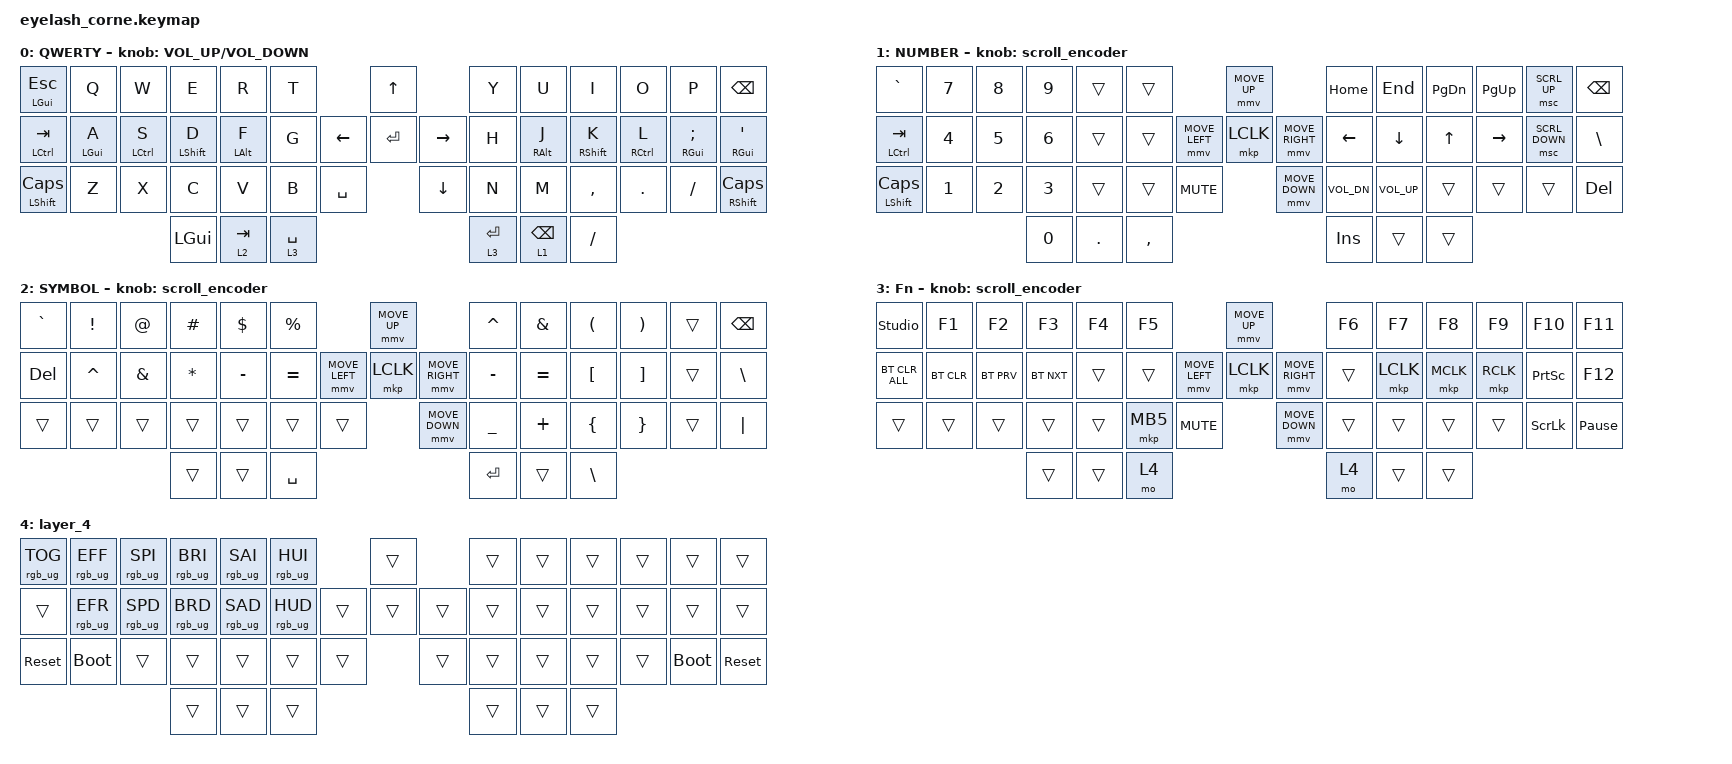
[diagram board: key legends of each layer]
#define ZMK_POINTING_DEFAULT_MOVE_VAL 1200  // 600
#define ZMK_POINTING_DEFAULT_SCRL_VAL 80 // 10

#include <input/processors.dtsi>
#include <zephyr/dt-bindings/input/input-event-codes.h>
#include <behaviors.dtsi>
#include <dt-bindings/zmk/bt.h>
#include <dt-bindings/zmk/keys.h>
#include <dt-bindings/zmk/pointing.h>
#include <dt-bindings/zmk/rgb.h>

&mmv_input_listener { input-processors = <&zip_xy_scaler 2 1>; };

&msc_input_listener { input-processors = <&zip_scroll_scaler 2 1>; };

&msc {
    acceleration-exponent = <1>;      // 0
    time-to-max-speed-ms = <100>;       // 300
    delay-ms = <0>;                   // 0
};

&mmv {
    time-to-max-speed-ms = <500>;
    acceleration-exponent = <1>;
    trigger-period-ms = <16>;
};

/ {
    behaviors {
        home_row: home_row {
            compatible = "zmk,behavior-hold-tap";
            label = "HOME_ROW";
            bindings = <&kp>, <&kp>;

            #binding-cells = <2>;
            tapping-term-ms = <200>;
            flavor = "tap-preferred";
        };
    };

    rgb_encoder: rgb_encoder {
        compatible = "zmk,behavior-sensor-rotate";
        #sensor-binding-cells = <0>;
        bindings = <&rgb_ug RGB_BRI>, <&rgb_ug RGB_BRD>;
    };

    scroll_encoder: scroll_encoder {
        compatible = "zmk,behavior-sensor-rotate";
        #sensor-binding-cells = <0>;
        bindings = <&msc SCRL_DOWN>, <&msc SCRL_UP>;

        tap-ms = <100>;
    };

    combos {
        compatible = "zmk,combos";

        cz {
            bindings = <&kp LC(Z)>;
            key-positions = <29 30>;
        };

        cx {
            bindings = <&kp LC(X)>;
            key-positions = <30 31>;
        };

        cc {
            bindings = <&kp LC(C)>;
            key-positions = <31 32>;
        };

        cv {
            bindings = <&kp LC(V)>;
            key-positions = <32 33>;
        };

        tabc {
            bindings = <&kp TAB>;
            key-positions = <14 15>;
        };

        enterc {
            bindings = <&kp ENTER>;
            key-positions = <24 25>;
        };

        escapec {
            bindings = <&kp ESCAPE>;
            key-positions = <1 2>;
        };

        scrolldownc {
            bindings = <&msc SCRL_DOWN>;
            key-positions = <23 24 25>;
        };

        scrollupc {
            bindings = <&msc SCRL_UP>;
            key-positions = <15 16 17>;
        };

        delc {
            bindings = <&kp DEL>;
            key-positions = <11 12>;
        };
    };

    keymap {
        compatible = "zmk,keymap";

        default_layer {
            display-name = "QWERTY";
            bindings = <
&mt LGUI ESCAPE          &kp Q             &kp W              &kp E                   &kp R                 &kp T                               &kp UP                &kp Y        &kp U                  &kp I                    &kp O              &kp P                          &kp BSPC
&mt LCTRL TAB            &home_row LGUI A  &home_row LCTRL S  &home_row LEFT_SHIFT D  &home_row LEFT_ALT F  &kp G                     &kp LEFT  &kp ENTER  &kp RIGHT  &kp H        &home_row RIGHT_ALT J  &home_row RIGHT_SHIFT K  &home_row RCTRL L  &home_row RIGHT_GUI SEMICOLON  &mt RGUI SQT
&mt LEFT_SHIFT CAPSLOCK  &kp Z             &kp X              &kp C                   &kp V                 &kp B        &kp SPACE              &kp DOWN              &kp N        &kp M                  &kp COMMA                &kp DOT            &kp FSLH                       &mt RIGHT_SHIFT CAPSLOCK
                                                              &kp LGUI                &lt 2 TAB             &lt 3 SPACE                                               &lt 3 ENTER  &lt 1 BACKSPACE        &kp SLASH
            >;

            sensor-bindings = <&inc_dec_kp C_VOLUME_UP C_VOLUME_DOWN>;
        };

        lower_layer {
            display-name = "NUMBER";
            bindings = <
&kp GRAVE                &kp N7        &kp N8        &kp N9        &trans      &trans                                   &mmv MOVE_UP                     &kp HOME      &kp END       &kp PG_DN  &kp PG_UP  &msc SCRL_UP    &kp BACKSPACE
&mt LCTRL TAB            &kp NUMBER_4  &kp N5        &kp NUMBER_6  &trans      &trans                   &mmv MOVE_LEFT  &mkp LCLK       &mmv MOVE_RIGHT  &kp LEFT      &kp DOWN      &kp UP     &kp RIGHT  &msc SCRL_DOWN  &kp BSLH
&mt LEFT_SHIFT CAPSLOCK  &kp NUMBER_1  &kp NUMBER_2  &kp NUMBER_3  &trans      &trans     &kp C_MUTE                    &mmv MOVE_DOWN                   &kp C_VOL_DN  &kp C_VOL_UP  &trans     &trans     &trans          &kp DEL
                                                     &kp NUMBER_0  &kp PERIOD  &kp COMMA                                                                 &kp INS       &trans        &trans
            >;

            sensor-bindings = <&scroll_encoder>;
        };

        raise_layer {
            display-name = "SYMBOL";
            bindings = <
&kp GRAVE  &kp EXCL   &kp AT         &kp HASH      &kp DLLR   &kp PRCNT                            &mmv MOVE_UP                     &kp CARET  &kp AMPS   &kp LEFT_PARENTHESIS  &kp RIGHT_PARENTHESIS  &trans  &kp BSPC
&kp DEL    &kp CARET  &kp AMPERSAND  &kp ASTERISK  &kp MINUS  &kp EQUAL            &mmv MOVE_LEFT  &mkp LCLK       &mmv MOVE_RIGHT  &kp MINUS  &kp EQUAL  &kp LEFT_BRACKET      &kp RIGHT_BRACKET      &trans  &kp BACKSLASH
&trans     &trans     &trans         &trans        &trans     &trans     &trans                    &mmv MOVE_DOWN                   &kp UNDER  &kp PLUS   &kp LEFT_BRACE        &kp RIGHT_BRACE        &trans  &kp PIPE
                                     &trans        &trans     &kp SPACE                                                             &kp RET    &trans     &kp BACKSLASH
            >;

            sensor-bindings = <&scroll_encoder>;
        };

        layer_3 {
            display-name = "Fn";
            bindings = <
&studio_unlock  &kp F1      &kp F2      &kp F3      &kp F4  &kp F5                                  &mmv MOVE_UP                     &kp F6  &kp F7     &kp F8     &kp F9     &kp F10          &kp F11
&bt BT_CLR_ALL  &bt BT_CLR  &bt BT_PRV  &bt BT_NXT  &trans  &trans                  &mmv MOVE_LEFT  &mkp LCLK       &mmv MOVE_RIGHT  &trans  &mkp LCLK  &mkp MCLK  &mkp RCLK  &kp PRINTSCREEN  &kp F12
&trans          &trans      &trans      &trans      &trans  &mkp MB5  &kp C_MUTE                    &mmv MOVE_DOWN                   &trans  &trans     &trans     &trans     &kp SCROLLLOCK   &kp PAUSE_BREAK
                                        &trans      &trans  &mo 4                                                                    &mo 4   &trans     &trans
            >;

            sensor-bindings = <&scroll_encoder>;
        };

        layer_4 {
            bindings = <
&rgb_ug RGB_TOG  &rgb_ug RGB_EFF  &rgb_ug RGB_SPI  &rgb_ug RGB_BRI  &rgb_ug RGB_SAI  &rgb_ug RGB_HUI                    &trans          &trans  &trans  &trans  &trans  &trans       &trans
&trans           &rgb_ug RGB_EFR  &rgb_ug RGB_SPD  &rgb_ug RGB_BRD  &rgb_ug RGB_SAD  &rgb_ug RGB_HUD            &trans  &trans  &trans  &trans  &trans  &trans  &trans  &trans       &trans
&sys_reset       &bootloader      &trans           &trans           &trans           &trans           &trans            &trans          &trans  &trans  &trans  &trans  &bootloader  &sys_reset
                                                   &trans           &trans           &trans                                             &trans  &trans  &trans
            >;
        };
    };
};
